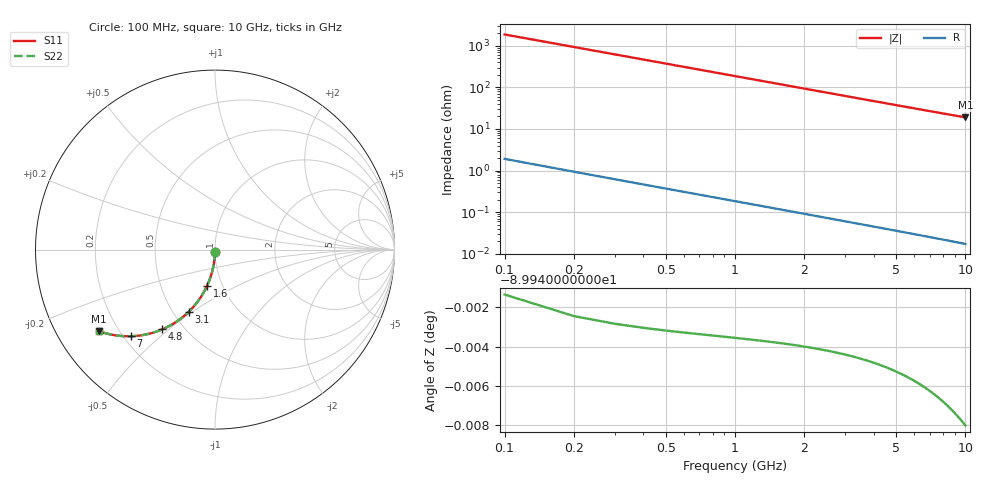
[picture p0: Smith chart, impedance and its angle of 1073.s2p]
# Hz S RI R 50.00
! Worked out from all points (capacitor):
!   100 points, 100 MHz to 10 GHz, reference 50 ohm
!   read as one part in shunt: C = 852 fF near 100 MHz
!   lowest |Z| = 19 ohm at 10 GHz (marker M1)
!   S11 on the Smith chart (normalised r, x): 100 MHz: 1.00, -0.03; 1.6 GHz: 0.85, -0.36; 3.1 GHz: 0.60, -0.48; 4.8 GHz: 0.38, -0.47; 7 GHz: 0.23, -0.40; 10 GHz: 0.13, -0.31
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1e8  -0.000134 -0.0132  0.9997 -0.0136  0.9997 -0.0136  -0.000134 -0.0132
2e8  -0.000684 -0.0263  0.9992 -0.0272  0.9992 -0.0272  -0.000684 -0.0263
3e8  -0.00159 -0.0394  0.9983 -0.0407  0.9983 -0.0407  -0.00159 -0.0394
4e8  -0.00285 -0.0525  0.997 -0.0543  0.997 -0.0543  -0.00285 -0.0525
5e8  -0.00446 -0.0655  0.9954 -0.0677  0.9954 -0.0677  -0.00446 -0.0655
6e8  -0.00642 -0.0784  0.9935 -0.0811  0.9935 -0.0811  -0.00642 -0.0784
7e8  -0.00873 -0.0913  0.9912 -0.0944  0.9912 -0.0944  -0.00873 -0.0913
9e8  -0.0143 -0.1167  0.9855 -0.1207  0.9855 -0.1207  -0.0143 -0.1167
1.2e9  -0.0252 -0.1538  0.9746 -0.1592  0.9746 -0.1592  -0.0252 -0.1538
1.6e9  -0.044 -0.2011  0.9559 -0.2083  0.9559 -0.2083  -0.044 -0.2011
1.8e9  -0.055 -0.2236  0.9448 -0.2317  0.9448 -0.2317  -0.055 -0.2236
2.4e9  -0.0938 -0.2858  0.906 -0.2966  0.906 -0.2966  -0.0938 -0.2858
3.1e9  -0.1473 -0.3471  0.8524 -0.361  0.8524 -0.361  -0.1473 -0.3471
3.4e9  -0.1721 -0.3694  0.8276 -0.3848  0.8276 -0.3848  -0.1721 -0.3694
4.1e9  -0.2323 -0.4127  0.7674 -0.4312  0.7674 -0.4312  -0.2323 -0.4127
4.8e9  -0.2935 -0.4441  0.7062 -0.4658  0.7062 -0.4658  -0.2935 -0.4441
5.1e9  -0.3194 -0.4542  0.6803 -0.4774  0.6803 -0.4774  -0.3194 -0.4542
5.9e9  -0.3861 -0.473  0.6134 -0.4998  0.6134 -0.4998  -0.3861 -0.473
6.7e9  -0.4484 -0.4816  0.551 -0.5121  0.551 -0.5121  -0.4484 -0.4816
7e9  -0.4703 -0.4826  0.529 -0.5146  0.529 -0.5146  -0.4703 -0.4826
8.4e9  -0.5621 -0.4762  0.437 -0.5149  0.437 -0.5149  -0.5621 -0.4762
1e10  -0.6465 -0.4542  0.3523 -0.5005  0.3523 -0.5005  -0.6465 -0.4542
